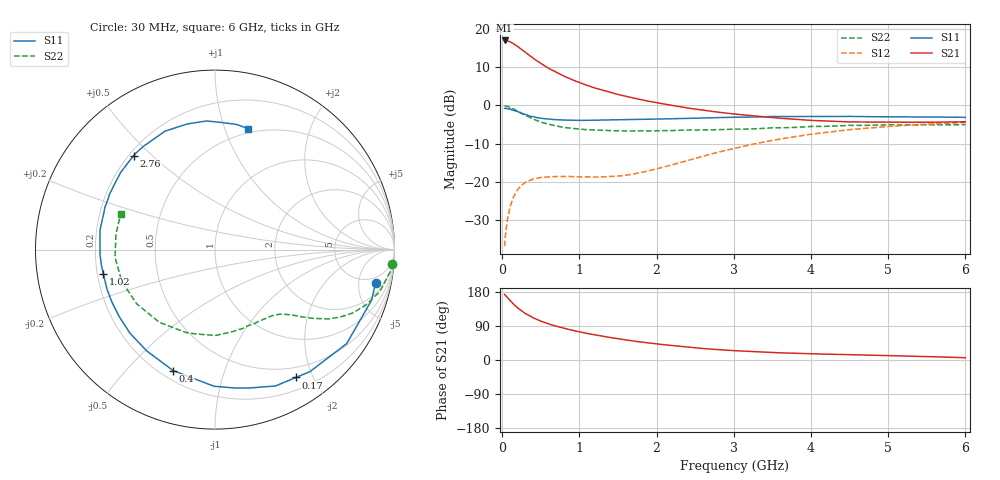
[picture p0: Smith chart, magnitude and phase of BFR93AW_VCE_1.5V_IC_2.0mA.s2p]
! Infineon Technologies  Discrete & RF Semiconductors
! BFR93AW
! VCE =  1.5 V,  IC =  2.0 mA
! Common Emitter S-Parameters:  Nov 2015
# GHz  S  MA  R  50
!  f  S11  S21  S12  S22
! GHz  MAG  ANG  MAG  ANG  MAG  ANG  MAG  ANG
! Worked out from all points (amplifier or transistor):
!   206 points, 30 MHz to 6 GHz, reference 50 ohm
!   highest |S21| = 16.9 dB at 30 MHz (marker M1)
!   |S21| within 3 dB of that: start of sweep to 292.1 MHz
!   unconditionally stable (mu >= 1): 1.209 GHz to 2.604 GHz; 5.494 GHz to end of sweep
!   at 200 MHz: K = 0.17, MSG = 18.6 dB, |S12| = -21.9 dB
!   at 1.56 GHz: K = 1.17, MAG = 7.9 dB, |S12| = -18.3 dB
!   at 6 GHz: K = 1.01, MAG = -0.6 dB, |S12| = -4.4 dB
!   S11 on the Smith chart (normalised r, x): 30 MHz: 3.63, -8.16; 170 MHz: 0.36, -1.76; 400 MHz: 0.25, -0.68; 1.02 GHz: 0.22, -0.10; 2.76 GHz: 0.22, +0.44; 6 GHz: 0.46, +1.21
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0.03  0.9138 -11.7  7.015 173.0  0.0146 82.1  0.9898 -4.5
0.05  0.9169 -17.9  6.993 168.1  0.0246 78.5  0.9826 -7.4
0.1  0.9016 -35.5  6.767 157.0  0.0471 70.4  0.9475 -14.3
0.15  0.8615 -52.1  6.327 146.3  0.0655 62.2  0.896 -20.1
0.17  0.8433 -57.6  6.119 142.9  0.0711 58.9  0.8743 -21.9
0.2  0.8311 -66.1  5.85 137.4  0.0799 54.9  0.8436 -24.8
0.26  0.7808 -81.2  5.254 128.0  0.0923 47.9  0.7788 -29.1
0.3  0.7615 -90.4  4.899 122.5  0.0991 44.7  0.7415 -31.4
0.4  0.7133 -109.1  4.108 111.2  0.1094 37.7  0.6622 -35.3
0.5  0.6808 -123.9  3.515 102.3  0.1149 33.1  0.6049 -38.1
0.6  0.6645 -135.4  3.043 95.1  0.1172 30.3  0.5668 -40.1
0.8  0.6442 -153.6  2.401 83.5  0.1185 28.6  0.5152 -44.3
1.02  0.6363 -167.7  1.946 73.5  0.1171 29.9  0.4886 -48.8
1.04  0.6366 -168.8  1.914 72.7  0.117 30.2  0.4866 -49.3
1.2  0.641 -177.3  1.684 66.3  0.1164 33.2  0.4768 -53.3
1.5  0.6496 170.3  1.386 56.1  0.1197 41.4  0.4672 -61.7
2.02  0.664 151.7  1.074 41.8  0.1505 56.1  0.4674 -77.8
2.76  0.6924 130.8  0.824 27.9  0.2401 62.9  0.4813 -102.1
3.1  0.7009 122.3  0.754 23.7  0.2887 61.0  0.4897 -113.2
4.1  0.7158 100.8  0.631 15.9  0.4325 48.6  0.5309 -148.5
5.1  0.7078 85.1  0.602 11.1  0.5378 33.3  0.5561 -178.2
6  0.6983 74.6  0.611 6.0  0.6008 21.3  0.5615 159.2
